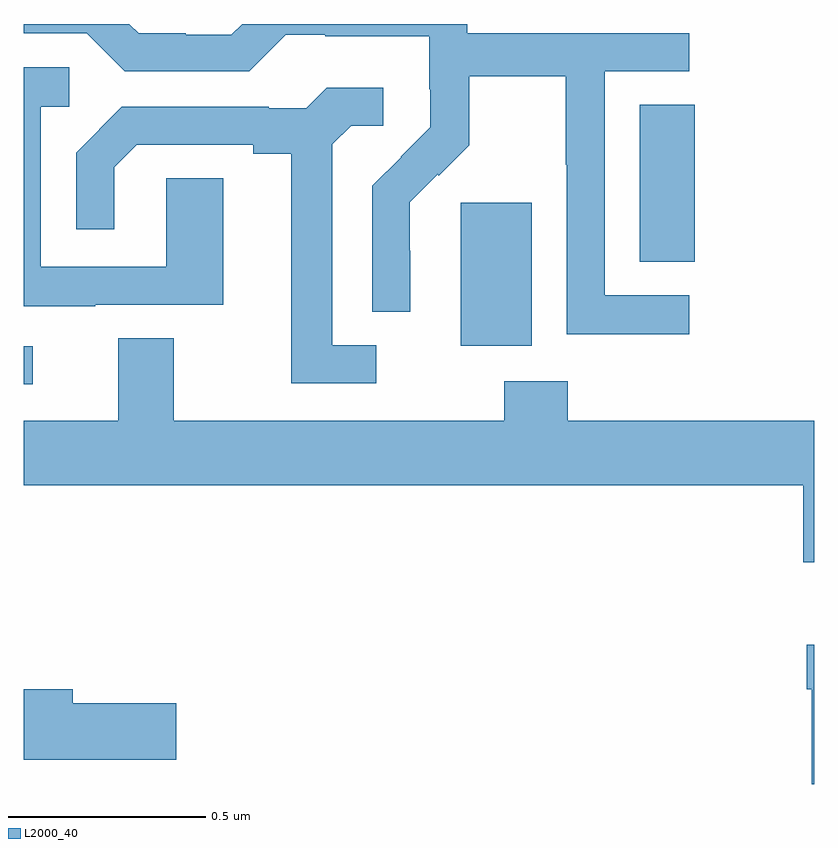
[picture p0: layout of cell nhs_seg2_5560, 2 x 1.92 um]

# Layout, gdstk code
import gdstk
lib = gdstk.Library(unit=1e-6, precision=1e-09)
def R(c, l, rs):  # rectangles x0, y0, x1, y1
    for r in rs: c.add(gdstk.rectangle(r[:2], r[2:], *l))
def P(c, l, *ps):  # polygons
    for p in ps: c.add(gdstk.Polygon(p, *l))
L2000_40 = (2000, 40)

nhs_seg2_5560 = lib.new_cell('nhs_seg2_5560')
R(nhs_seg2_5560, L2000_40, [(180,651.888,180.022,651.984), (181.106,651.986,181.285,652.347), (181.559,652.198,181.698,652.595)])
P(nhs_seg2_5560, L2000_40, [(181.684,652.113),(181.47,652.113),(181.47,652.68),(181.684,652.68),(181.684,652.776),(181.122,652.776),(181.122,652.8),(180.552,652.8),(180.525,652.773),(180.41,652.773),(180.41,652.776),(180.291,652.776),(180.267,652.8),(180,652.8),(180,652.776),(180.159,652.776),(180.255,652.68),(180.57,652.68),(180.663,652.773),(180.763,652.773),(180.763,652.769),(181.026,652.769),(181.026,652.635),(181.028,652.635),(181.028,652.538),(180.954,652.464),(180.955,652.463),(180.882,652.39),(180.882,652.072),(180.978,652.072),(180.978,652.226),(180.977,652.226),(180.977,652.349),(181.047,652.419),(181.05,652.416),(181.127,652.493),(181.127,652.668),(181.372,652.668),(181.372,652.444),(181.374,652.444),(181.374,652.015),(181.684,652.015)],
  [(180.181,652.089),(180.505,652.089),(180.505,652.409),(180.36,652.409),(180.36,652.185),(180.042,652.185),(180.042,652.59),(180.115,652.59),(180.115,652.691),(180,652.691),(180,652.085),(180.181,652.085)],
  [(180.892,651.987),(180.781,651.987),(180.781,652.495),(180.828,652.542),(180.91,652.542),(180.91,652.639),(180.766,652.639),(180.714,652.587),(180.62,652.587),(180.62,652.59),(180.248,652.59),(180.132,652.474),(180.132,652.281),(180.229,652.281),(180.229,652.437),(180.286,652.494),(180.581,652.494),(180.581,652.472),(180.677,652.472),(180.677,651.891),(180.892,651.891)],
  [(182,651.796),(181.376,651.796),(181.376,651.895),(181.216,651.895),(181.216,651.796),(180.379,651.796),(180.379,652.004),(180.239,652.004),(180.239,651.796),(180,651.796),(180,651.632),(181.973,651.632),(181.973,651.438),(182,651.438)],
  [(182,651.229),(181.982,651.229),(181.982,651.116),(181.994,651.116),(181.994,650.876),(182,650.876)],
  [(180.385,651.08),(180.124,651.08),(180.124,651.116),(180,651.116),(180,650.938),(180.385,650.938)])

lib.write_gds('nhs_seg2_5560.gds')
